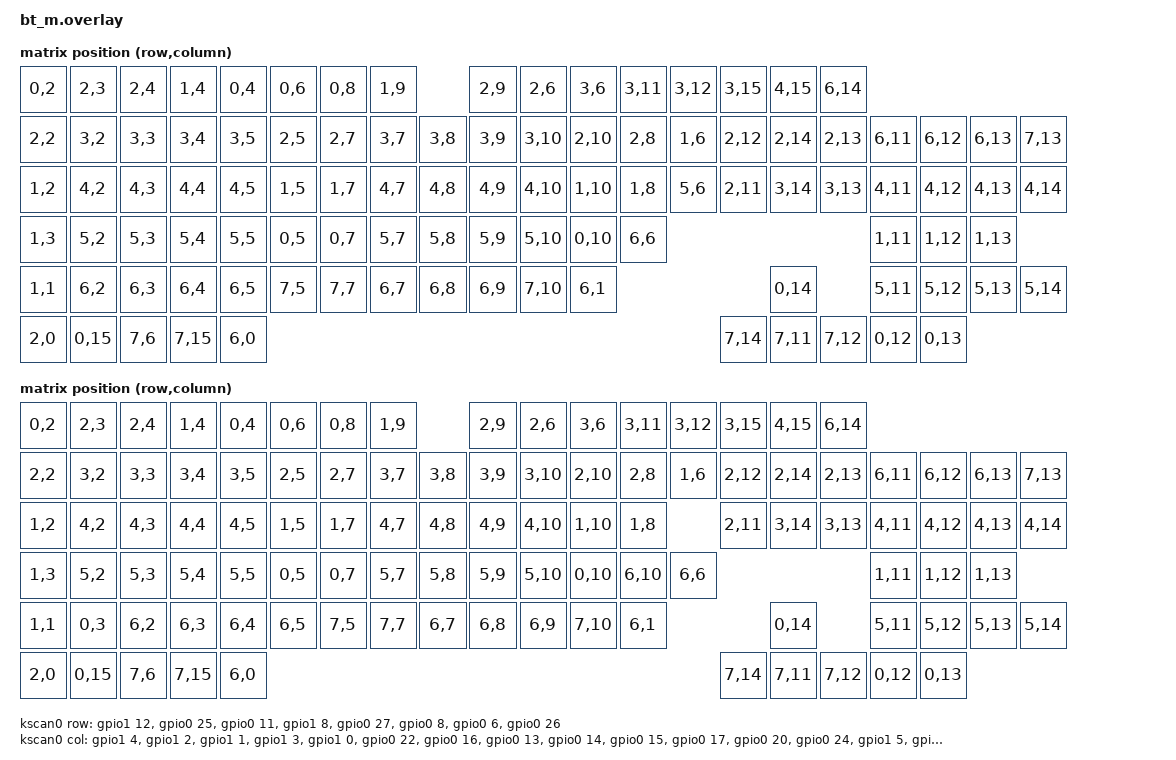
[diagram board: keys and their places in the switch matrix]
/*
 * Copyright (c) 2020 The ZMK Contributors
 *
 * SPDX-License-Identifier: MIT
 */

#include <dt-bindings/zmk/matrix_transform.h>

/ {
    chosen {
        zmk,kscan = &kscan0;
        zmk,matrix_transform = &default_transform_ansi;
    };

    kscan0: kscan_m {
        compatible = "zmk,kscan-gpio-matrix";
        label = "KSCAN";

        diode-direction = "row2col";
        col-gpios
            = <&gpio1  4 (GPIO_ACTIVE_HIGH | GPIO_PULL_DOWN)>
            , <&gpio1  2 (GPIO_ACTIVE_HIGH | GPIO_PULL_DOWN)>
            , <&gpio1  1 (GPIO_ACTIVE_HIGH | GPIO_PULL_DOWN)>
            , <&gpio1  3 (GPIO_ACTIVE_HIGH | GPIO_PULL_DOWN)>
            , <&gpio1  0 (GPIO_ACTIVE_HIGH | GPIO_PULL_DOWN)>
            , <&gpio0 22 (GPIO_ACTIVE_HIGH | GPIO_PULL_DOWN)>
            , <&gpio0 16 (GPIO_ACTIVE_HIGH | GPIO_PULL_DOWN)>
            , <&gpio0 13 (GPIO_ACTIVE_HIGH | GPIO_PULL_DOWN)>
            , <&gpio0 14 (GPIO_ACTIVE_HIGH | GPIO_PULL_DOWN)>
            , <&gpio0 15 (GPIO_ACTIVE_HIGH | GPIO_PULL_DOWN)>
            , <&gpio0 17 (GPIO_ACTIVE_HIGH | GPIO_PULL_DOWN)>
            , <&gpio0 20 (GPIO_ACTIVE_HIGH | GPIO_PULL_DOWN)>
            , <&gpio0 24 (GPIO_ACTIVE_HIGH | GPIO_PULL_DOWN)>
            , <&gpio1  5 (GPIO_ACTIVE_HIGH | GPIO_PULL_DOWN)>
            , <&gpio1  7 (GPIO_ACTIVE_HIGH | GPIO_PULL_DOWN)>
            , <&gpio1 14 (GPIO_ACTIVE_HIGH | GPIO_PULL_DOWN)>
            ;
        row-gpios
            = <&gpio1 12 GPIO_ACTIVE_HIGH>
            , <&gpio0 25 GPIO_ACTIVE_HIGH>
            , <&gpio0 11 GPIO_ACTIVE_HIGH>
            , <&gpio1  8 GPIO_ACTIVE_HIGH>
            , <&gpio0 27 GPIO_ACTIVE_HIGH>
            , <&gpio0  8 GPIO_ACTIVE_HIGH>
            , <&gpio0  6 GPIO_ACTIVE_HIGH>
            , <&gpio0 26 GPIO_ACTIVE_HIGH>
            ;
    }; 
    
    default_transform_ansi: keymap_transform_ansi {
        compatible = "zmk,matrix-transform";
        columns = <16>;
        rows = <8>;
        map = < 
RC(0, 2)    RC(2, 3) RC(2, 4) RC(1, 4) RC(0, 4)    RC(0, 6) RC(0, 8) RC(1, 9) RC(2, 9)    RC(2, 6) RC(3, 6) RC(3,11) RC(3,12)    RC(3,15) RC(4,15) RC(6,14)
RC(2, 2) RC(3, 2) RC(3, 3) RC(3, 4) RC(3, 5) RC(2, 5) RC(2, 7) RC(3, 7) RC(3, 8) RC(3, 9) RC(3,10) RC(2,10) RC(2, 8) RC(1, 6)    RC(2,12) RC(2,14) RC(2,13)    RC(6,11) RC(6,12) RC(6,13) RC(7,13)
RC(1, 2) RC(4, 2) RC(4, 3) RC(4, 4) RC(4, 5) RC(1, 5) RC(1, 7) RC(4, 7) RC(4, 8) RC(4, 9) RC(4,10) RC(1,10) RC(1, 8) RC(5, 6)    RC(2,11) RC(3,14) RC(3,13)    RC(4,11) RC(4,12) RC(4,13) RC(4,14)
RC(1, 3) RC(5, 2) RC(5, 3) RC(5, 4) RC(5, 5) RC(0, 5) RC(0, 7) RC(5, 7) RC(5, 8) RC(5, 9) RC(5,10) RC(0,10) RC(6, 6)                                           RC(1,11) RC(1,12) RC(1,13)
RC(1, 1) RC(6, 2) RC(6, 3) RC(6, 4) RC(6, 5) RC(7, 5) RC(7, 7) RC(6, 7) RC(6, 8) RC(6, 9) RC(7,10) RC(6, 1)                               RC(0,14)             RC(5,11) RC(5,12) RC(5,13) RC(5,14)
RC(2, 0)            RC(0,15)                      RC(7, 6)                              RC(7,15)            RC(6, 0)             RC(7,14) RC(7,11) RC(7,12)    RC(0,12) RC(0,13)
         >;
    };
    

    default_transform_iso: keymap_transform_iso {
        compatible = "zmk,matrix-transform";
        columns = <16>;
        rows = <8>;
        map = < 
RC(0, 2)    RC(2, 3) RC(2, 4) RC(1, 4) RC(0, 4)    RC(0, 6) RC(0, 8) RC(1, 9) RC(2, 9)    RC(2, 6) RC(3, 6) RC(3,11) RC(3,12)    RC(3,15) RC(4,15) RC(6,14)    
RC(2, 2) RC(3, 2) RC(3, 3) RC(3, 4) RC(3, 5) RC(2, 5) RC(2, 7) RC(3, 7) RC(3, 8) RC(3, 9) RC(3,10) RC(2,10) RC(2, 8) RC(1, 6)    RC(2,12) RC(2,14) RC(2,13)    RC(6,11) RC(6,12) RC(6,13) RC(7,13)    
RC(1, 2) RC(4, 2) RC(4, 3) RC(4, 4) RC(4, 5) RC(1, 5) RC(1, 7) RC(4, 7) RC(4, 8) RC(4, 9) RC(4,10) RC(1,10) RC(1, 8)             RC(2,11) RC(3,14) RC(3,13)    RC(4,11) RC(4,12) RC(4,13) RC(4,14)    
RC(1, 3) RC(5, 2) RC(5, 3) RC(5, 4) RC(5, 5) RC(0, 5) RC(0, 7) RC(5, 7) RC(5, 8) RC(5, 9) RC(5,10) RC(0,10) RC(6,10) RC(6, 6)                                  RC(1,11) RC(1,12) RC(1,13)    
RC(1, 1) RC(0, 3) RC(6, 2) RC(6, 3) RC(6, 4) RC(6, 5) RC(7, 5) RC(7, 7) RC(6, 7) RC(6, 8) RC(6, 9) RC(7,10) RC(6, 1)                      RC(0,14)             RC(5,11) RC(5,12) RC(5,13) RC(5,14)    
RC(2, 0)            RC(0,15)                               RC(7, 6)                              RC(7,15)            RC(6, 0)    RC(7,14) RC(7,11) RC(7,12)    RC(0,12) RC(0,13)
         >;
    };

};

